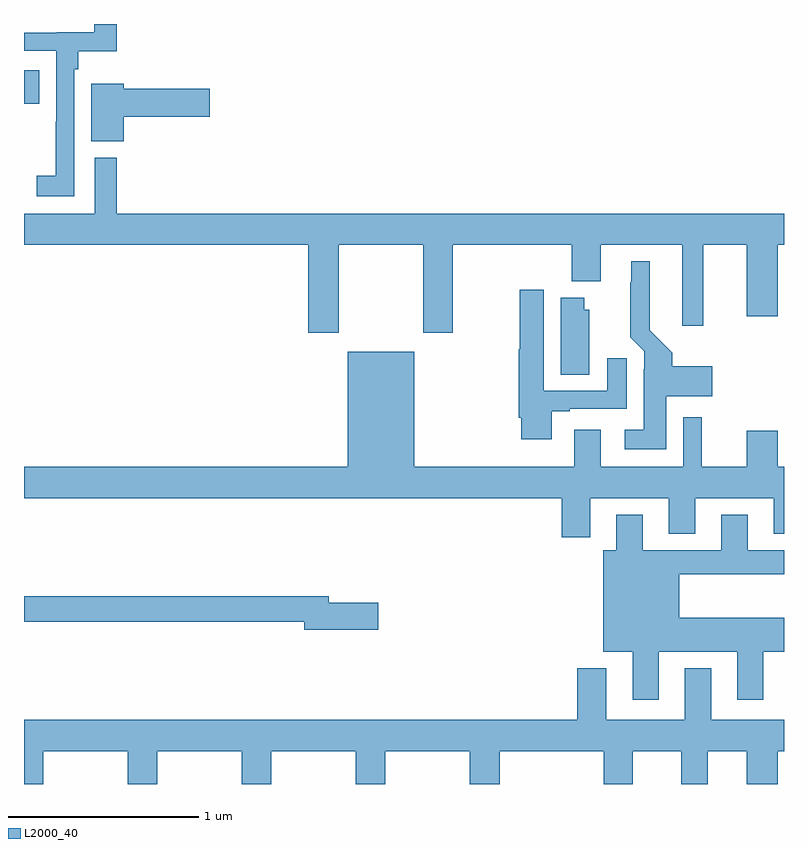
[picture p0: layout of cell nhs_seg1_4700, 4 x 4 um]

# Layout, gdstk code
import gdstk
lib = gdstk.Library(unit=1e-6, precision=1e-09)
def R(c, l, rs):  # rectangles x0, y0, x1, y1
    for r in rs: c.add(gdstk.rectangle(r[:2], r[2:], *l))
def P(c, l, *ps):  # polygons
    for p in ps: c.add(gdstk.Polygon(p, *l))
L2000_40 = (2000, 40)

nhs_seg1_4700 = lib.new_cell('nhs_seg1_4700')
R(nhs_seg1_4700, L2000_40, [(365,581.78,365.08,581.956)])
P(nhs_seg1_4700, L2000_40, [(365.265,581.96),(365.285,581.96),(365.285,582.056),(365.489,582.056),(365.489,582.199),(365.371,582.199),(365.371,582.155),(365.172,582.155),(365.172,582.153),(365,582.153),(365,582.057),(365.169,582.057),(365.169,581.684),(365.168,581.684),(365.168,581.401),(365.067,581.401),(365.067,581.292),(365.265,581.292)],
  [(365.525,581.711),(365.977,581.711),(365.977,581.858),(365.525,581.858),(365.525,581.884),(365.354,581.884),(365.354,581.581),(365.525,581.581)],
  [(365.489,581.496),(365.373,581.496),(365.373,581.2),(365,581.2),(365,581.036),(366.497,581.036),(366.497,580.575),(366.657,580.575),(366.657,581.036),(367.102,581.036),(367.102,580.575),(367.257,580.575),(367.257,581.036),(367.883,581.036),(367.883,580.844),(368.035,580.844),(368.035,581.036),(368.465,581.036),(368.465,580.611),(368.575,580.611),(368.575,581.036),(368.804,581.036),(368.804,580.662),(368.968,580.662),(368.968,581.036),(369,581.036),(369,581.2),(365.489,581.2)],
  [(368.38,580.241),(368.623,580.241),(368.623,580.399),(368.411,580.399),(368.411,580.47),(368.293,580.588),(368.293,580.951),(368.195,580.951),(368.195,580.841),(368.191,580.841),(368.191,580.55),(368.265,580.476),(368.265,580.382),(368.261,580.382),(368.261,580.063),(368.163,580.063),(368.163,579.962),(368.38,579.962)],
  [(367.777,580.161),(367.873,580.161),(367.873,580.173),(368.173,580.173),(368.173,580.441),(368.069,580.441),(368.069,580.269),(367.735,580.269),(367.735,580.801),(367.609,580.801),(367.609,580.488),(367.604,580.488),(367.604,580.126),(367.616,580.126),(367.616,580.014),(367.777,580.014)],
  [(367.975,580.695),(367.948,580.695),(367.948,580.759),(367.826,580.759),(367.826,580.354),(367.975,580.354)],
  [(367.981,579.704),(368.393,579.704),(368.393,579.515),(368.533,579.515),(368.533,579.704),(368.945,579.704),(368.945,579.515),(369,579.515),(369,579.868),(368.968,579.868),(368.968,580.057),(368.804,580.057),(368.804,579.868),(368.568,579.868),(368.568,580.129),(368.469,580.129),(368.469,579.868),(368.035,579.868),(368.035,580.063),(367.895,580.063),(367.895,579.868),(367.054,579.868),(367.054,580.474),(366.704,580.474),(366.704,579.868),(365,579.868),(365,579.704),(367.829,579.704),(367.829,579.498),(367.981,579.498)],
  [(368.341,578.894),(368.753,578.894),(368.753,578.643),(368.89,578.643),(368.89,578.894),(369,578.894),(369,579.073),(368.449,579.073),(368.449,579.302),(369,579.302),(369,579.43),(368.809,579.43),(368.809,579.616),(368.669,579.616),(368.669,579.43),(368.257,579.43),(368.257,579.616),(368.117,579.616),(368.117,579.43),(368.048,579.43),(368.048,578.894),(368.204,578.894),(368.204,578.643),(368.341,578.643)],
  [(366.865,579.152),(366.604,579.152),(366.604,579.188),(365,579.188),(365,579.052),(366.476,579.052),(366.476,579.01),(366.865,579.01)],
  [(365.1,578.372),(365.545,578.372),(365.545,578.199),(365.7,578.199),(365.7,578.372),(366.145,578.372),(366.145,578.199),(366.3,578.199),(366.3,578.372),(366.745,578.372),(366.745,578.199),(366.9,578.199),(366.9,578.372),(367.345,578.372),(367.345,578.199),(367.505,578.199),(367.505,578.372),(368.051,578.372),(368.051,578.199),(368.203,578.199),(368.203,578.372),(368.459,578.372),(368.459,578.199),(368.599,578.199),(368.599,578.372),(368.804,578.372),(368.804,578.199),(368.968,578.199),(368.968,578.372),(369,578.372),(369,578.536),(368.617,578.536),(368.617,578.809),(368.477,578.809),(368.477,578.536),(368.065,578.536),(368.065,578.809),(367.913,578.809),(367.913,578.536),(365,578.536),(365,578.199),(365.1,578.199)])

lib.write_gds('nhs_seg1_4700.gds')
